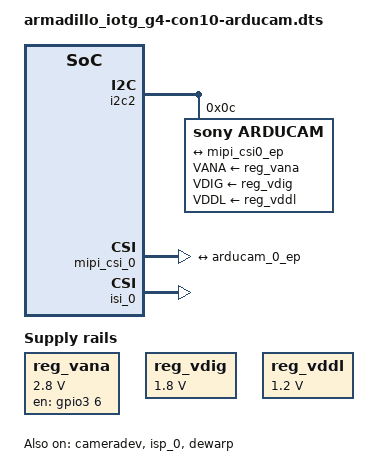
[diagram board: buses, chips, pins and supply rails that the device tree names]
/*
 * Copyright (C) 2022 Atmark Techno, Inc. All Rights Reserved.
 *
 * SPDX-License-Identifier: (GPL-2.0 OR MIT)
 */

/dts-v1/;
/plugin/;

#include <dt-bindings/gpio/gpio.h>
#include "imx8mp-pinfunc.h"

&{/} {
	reg_vana: regulator-vana {
		compatible = "regulator-fixed";
		pinctrl-names = "default";
		pinctrl-0 = <&pinctrl_vana>;
		regulator-name = "ARDUCAM-VANA";
		regulator-min-microvolt = <2800000>;
		regulator-max-microvolt = <2800000>;
		gpio = <&gpio3 6 GPIO_ACTIVE_HIGH>;
		enable-active-high;
	};

	reg_vdig: regulator-vdig {
		compatible = "regulator-fixed";
		regulator-name = "ARDUCAM-VDIG";
		regulator-min-microvolt = <1800000>;
		regulator-max-microvolt = <1800000>;
	};

	reg_vddl: regulator-vddl {
		compatible = "regulator-fixed";
		regulator-name = "ARDUCAM-vddl";
		regulator-min-microvolt = <1200000>;
		regulator-max-microvolt = <1200000>;
	};
};

&i2c2 {
	#address-cells = <1>;
	#size-cells = <0>;

	arducam: arducam@c {
		compatible = "sony,arducam";

		reg = <0x0c>;
		#address-cells = <1>;
		#size-cells = <0>;
		clocks = <&arducam_clk>;
		clock-names = "xclk";

		VANA-supply = <&reg_vana>; /* 2.8v */
		VDIG-supply = <&reg_vdig>; /* 1.8v */
		VDDL-supply = <&reg_vddl>; /* 1.2v */

		rotation = <180>;

		arducam_clk: camera-clk {
			compatible = "fixed-clock";
			#clock-cells = <0>;
			clock-frequency = <24000000>;
		};

		port {
			arducam_0_ep: endpoint {
				remote-endpoint = <&mipi_csi0_ep>;
				data-lanes = <1 2>;
				clock-lanes = <0>;
				clock-noncontinuous;
				link-frequencies = /bits/ 64 <456000000>;
			};
		};
	};
};

&iomuxc {
	pinctrl_vana: vana_grp {
		fsl,pins = <
			MX8MP_IOMUXC_NAND_DATA00__GPIO3_IO06	0x40000100
		>;
	};
};

&mipi_csi_0 {
	#address-cells = <1>;
	#size-cells = <0>;
	status = "okay";

	port@0 {
		reg = <0>;
		mipi_csi0_ep: endpoint {
			remote-endpoint = <&arducam_0_ep>;
			data-lanes = <2>;
			csis-hs-settle = <13>;
			csis-clk-settle = <2>;
			csis-wclk;
		};
	};
};

&cameradev {
	status = "okay";
};

&isi_0 {
	status = "okay";

	cap_device {
		status = "okay";
	};

	m2m_device {
		status = "okay";
	};
};

&isp_0 {
	status = "okay";
};

&dewarp {
	status = "okay";
};
